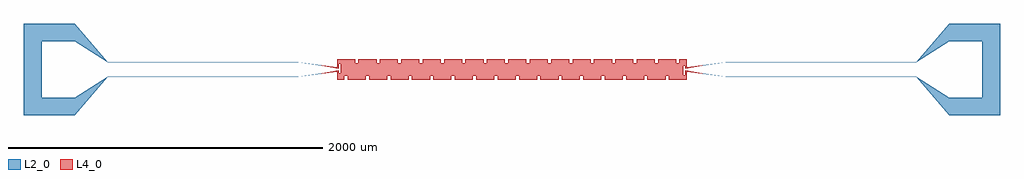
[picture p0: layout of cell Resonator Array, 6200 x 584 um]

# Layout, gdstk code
import gdstk
lib = gdstk.Library(unit=1e-6, precision=1e-09)
def P(c, l, *ps):  # polygons
    for p in ps: c.add(gdstk.Polygon(p, *l))
L2_0 = (2, 0)
L4_0 = (4, 0)

resonator_array = lib.new_cell('Resonator Array')
P(resonator_array, L2_0, [(2263,-9.844),(2263,-13.891),(2413,8.75),(3622.25,8.75),(3832.125,143.75),(4042,143.75),(4042,-216.25),(3832.125,-216.25),(3622.25,-81.25),(2413,-81.25),(2263,-58.609),(2263,-62.656),(2413,-82.75),(3622.25,-82.75),(3832.125,-328.25),(4154,-328.25),(4154,255.75),(3832.125,255.75),(3622.25,10.25),(2413,10.25)],
  [(-2046,255.75),(-2046,-328.25),(-1724.125,-328.25),(-1514.25,-82.75),(-305,-82.75),(-155,-62.656),(-155,-58.609),(-305,-81.25),(-1514.25,-81.25),(-1724.125,-216.25),(-1934,-216.25),(-1934,143.75),(-1724.125,143.75),(-1514.25,8.75),(-305,8.75),(-155,-13.891),(-155,-9.844),(-305,10.25),(-1514.25,10.25),(-1724.125,255.75)])
P(resonator_array, L4_0, [(780.5,29),(758.5,29),(758.5,5),(748.25,5),(748.25,-12.5),(761,-12.5),(761,-18),(735.5,-18),(735.5,-22.5),(761,-22.5),(761,-28),(735.5,-28),(735.5,-32.5),(761,-32.5),(761,-38),(735.5,-38),(735.5,-42.5),(761,-42.5),(761,-48),(735.5,-48),(735.5,-52.5),(748.25,-52.5),(748.25,-70.5),(771,-70.5),(771,-12.5),(773,-12.5),(773,-72.5),(723,-72.5),(723,-12.5),(725,-12.5),(725,-70.5),(747.75,-70.5),(747.75,-53),(735,-53),(735,-47.5),(760.5,-47.5),(760.5,-43),(735,-43),(735,-37.5),(760.5,-37.5),(760.5,-33),(735,-33),(735,-27.5),(760.5,-27.5),(760.5,-23),(735,-23),(735,-17.5),(760.5,-17.5),(760.5,-13),(747.75,-13),(747.75,5),(737.5,5),(737.5,29),(715.5,29),(715.5,-101.5),(780.5,-101.5)],
  [(916.5,29),(894.5,29),(894.5,5),(884.25,5),(884.25,-12.5),(897,-12.5),(897,-18),(871.5,-18),(871.5,-22.5),(897,-22.5),(897,-28),(871.5,-28),(871.5,-32.5),(897,-32.5),(897,-38),(871.5,-38),(871.5,-42.5),(897,-42.5),(897,-48),(871.5,-48),(871.5,-52.5),(884.25,-52.5),(884.25,-70.5),(907,-70.5),(907,-12.5),(909,-12.5),(909,-72.5),(859,-72.5),(859,-12.5),(861,-12.5),(861,-70.5),(883.75,-70.5),(883.75,-53),(871,-53),(871,-47.5),(896.5,-47.5),(896.5,-43),(871,-43),(871,-37.5),(896.5,-37.5),(896.5,-33),(871,-33),(871,-27.5),(896.5,-27.5),(896.5,-23),(871,-23),(871,-17.5),(896.5,-17.5),(896.5,-13),(883.75,-13),(883.75,5),(873.5,5),(873.5,29),(851.5,29),(851.5,-101.5),(916.5,-101.5)],
  [(1213.5,-77.5),(1223.75,-77.5),(1223.75,-59.5),(1236.5,-59.5),(1236.5,-55),(1211,-55),(1211,-49.5),(1236.5,-49.5),(1236.5,-45),(1211,-45),(1211,-39.5),(1236.5,-39.5),(1236.5,-35),(1211,-35),(1211,-29.5),(1236.5,-29.5),(1236.5,-25),(1211,-25),(1211,-19.5),(1223.75,-19.5),(1223.75,-2),(1201,-2),(1201,-60),(1199,-60),(1199,0),(1249,0),(1249,-60),(1247,-60),(1247,-2),(1224.25,-2),(1224.25,-20),(1211.5,-20),(1211.5,-24.5),(1237,-24.5),(1237,-30),(1211.5,-30),(1211.5,-34.5),(1237,-34.5),(1237,-40),(1211.5,-40),(1211.5,-44.5),(1237,-44.5),(1237,-50),(1211.5,-50),(1211.5,-54.5),(1237,-54.5),(1237,-60),(1224.25,-60),(1224.25,-77.5),(1234.5,-77.5),(1234.5,-101.5),(1256.5,-101.5),(1256.5,29),(1191.5,29),(1191.5,-101.5),(1213.5,-101.5)],
  [(1757.5,-77.5),(1767.75,-77.5),(1767.75,-59.5),(1780.5,-59.5),(1780.5,-55),(1755,-55),(1755,-49.5),(1780.5,-49.5),(1780.5,-45),(1755,-45),(1755,-39.5),(1780.5,-39.5),(1780.5,-35),(1755,-35),(1755,-29.5),(1780.5,-29.5),(1780.5,-25),(1755,-25),(1755,-19.5),(1767.75,-19.5),(1767.75,-2),(1745,-2),(1745,-60),(1743,-60),(1743,0),(1793,0),(1793,-60),(1791,-60),(1791,-2),(1768.25,-2),(1768.25,-20),(1755.5,-20),(1755.5,-24.5),(1781,-24.5),(1781,-30),(1755.5,-30),(1755.5,-34.5),(1781,-34.5),(1781,-40),(1755.5,-40),(1755.5,-44.5),(1781,-44.5),(1781,-50),(1755.5,-50),(1755.5,-54.5),(1781,-54.5),(1781,-60),(1768.25,-60),(1768.25,-77.5),(1778.5,-77.5),(1778.5,-101.5),(1800.5,-101.5),(1800.5,29),(1735.5,29),(1735.5,-101.5),(1757.5,-101.5)],
  [(1596.5,29),(1574.5,29),(1574.5,5),(1564.25,5),(1564.25,-12.5),(1577,-12.5),(1577,-18),(1551.5,-18),(1551.5,-22.5),(1577,-22.5),(1577,-28),(1551.5,-28),(1551.5,-32.5),(1577,-32.5),(1577,-38),(1551.5,-38),(1551.5,-42.5),(1577,-42.5),(1577,-48),(1551.5,-48),(1551.5,-52.5),(1564.25,-52.5),(1564.25,-70.5),(1587,-70.5),(1587,-12.5),(1589,-12.5),(1589,-72.5),(1539,-72.5),(1539,-12.5),(1541,-12.5),(1541,-70.5),(1563.75,-70.5),(1563.75,-53),(1551,-53),(1551,-47.5),(1576.5,-47.5),(1576.5,-43),(1551,-43),(1551,-37.5),(1576.5,-37.5),(1576.5,-33),(1551,-33),(1551,-27.5),(1576.5,-27.5),(1576.5,-23),(1551,-23),(1551,-17.5),(1576.5,-17.5),(1576.5,-13),(1563.75,-13),(1563.75,5),(1553.5,5),(1553.5,29),(1531.5,29),(1531.5,-101.5),(1596.5,-101.5)],
  [(1621.5,-77.5),(1631.75,-77.5),(1631.75,-59.5),(1644.5,-59.5),(1644.5,-55),(1619,-55),(1619,-49.5),(1644.5,-49.5),(1644.5,-45),(1619,-45),(1619,-39.5),(1644.5,-39.5),(1644.5,-35),(1619,-35),(1619,-29.5),(1644.5,-29.5),(1644.5,-25),(1619,-25),(1619,-19.5),(1631.75,-19.5),(1631.75,-2),(1609,-2),(1609,-60),(1607,-60),(1607,0),(1657,0),(1657,-60),(1655,-60),(1655,-2),(1632.25,-2),(1632.25,-20),(1619.5,-20),(1619.5,-24.5),(1645,-24.5),(1645,-30),(1619.5,-30),(1619.5,-34.5),(1645,-34.5),(1645,-40),(1619.5,-40),(1619.5,-44.5),(1645,-44.5),(1645,-50),(1619.5,-50),(1619.5,-54.5),(1645,-54.5),(1645,-60),(1632.25,-60),(1632.25,-77.5),(1642.5,-77.5),(1642.5,-101.5),(1664.5,-101.5),(1664.5,29),(1599.5,29),(1599.5,-101.5),(1621.5,-101.5)],
  [(508.5,29),(486.5,29),(486.5,5),(476.25,5),(476.25,-12.5),(489,-12.5),(489,-18),(463.5,-18),(463.5,-22.5),(489,-22.5),(489,-28),(463.5,-28),(463.5,-32.5),(489,-32.5),(489,-38),(463.5,-38),(463.5,-42.5),(489,-42.5),(489,-48),(463.5,-48),(463.5,-52.5),(476.25,-52.5),(476.25,-70.5),(499,-70.5),(499,-12.5),(501,-12.5),(501,-72.5),(451,-72.5),(451,-12.5),(453,-12.5),(453,-70.5),(475.75,-70.5),(475.75,-53),(463,-53),(463,-47.5),(488.5,-47.5),(488.5,-43),(463,-43),(463,-37.5),(488.5,-37.5),(488.5,-33),(463,-33),(463,-27.5),(488.5,-27.5),(488.5,-23),(463,-23),(463,-17.5),(488.5,-17.5),(488.5,-13),(475.75,-13),(475.75,5),(465.5,5),(465.5,29),(443.5,29),(443.5,-101.5),(508.5,-101.5)],
  [(1893.5,-77.5),(1903.75,-77.5),(1903.75,-59.5),(1916.5,-59.5),(1916.5,-55),(1891,-55),(1891,-49.5),(1916.5,-49.5),(1916.5,-45),(1891,-45),(1891,-39.5),(1916.5,-39.5),(1916.5,-35),(1891,-35),(1891,-29.5),(1916.5,-29.5),(1916.5,-25),(1891,-25),(1891,-19.5),(1903.75,-19.5),(1903.75,-2),(1881,-2),(1881,-60),(1879,-60),(1879,0),(1929,0),(1929,-60),(1927,-60),(1927,-2),(1904.25,-2),(1904.25,-20),(1891.5,-20),(1891.5,-24.5),(1917,-24.5),(1917,-30),(1891.5,-30),(1891.5,-34.5),(1917,-34.5),(1917,-40),(1891.5,-40),(1891.5,-44.5),(1917,-44.5),(1917,-50),(1891.5,-50),(1891.5,-54.5),(1917,-54.5),(1917,-60),(1904.25,-60),(1904.25,-77.5),(1914.5,-77.5),(1914.5,-101.5),(1936.5,-101.5),(1936.5,29),(1871.5,29),(1871.5,-101.5),(1893.5,-101.5)],
  [(1349.5,-77.5),(1359.75,-77.5),(1359.75,-59.5),(1372.5,-59.5),(1372.5,-55),(1347,-55),(1347,-49.5),(1372.5,-49.5),(1372.5,-45),(1347,-45),(1347,-39.5),(1372.5,-39.5),(1372.5,-35),(1347,-35),(1347,-29.5),(1372.5,-29.5),(1372.5,-25),(1347,-25),(1347,-19.5),(1359.75,-19.5),(1359.75,-2),(1337,-2),(1337,-60),(1335,-60),(1335,0),(1385,0),(1385,-60),(1383,-60),(1383,-2),(1360.25,-2),(1360.25,-20),(1347.5,-20),(1347.5,-24.5),(1373,-24.5),(1373,-30),(1347.5,-30),(1347.5,-34.5),(1373,-34.5),(1373,-40),(1347.5,-40),(1347.5,-44.5),(1373,-44.5),(1373,-50),(1347.5,-50),(1347.5,-54.5),(1373,-54.5),(1373,-60),(1360.25,-60),(1360.25,-77.5),(1370.5,-77.5),(1370.5,-101.5),(1392.5,-101.5),(1392.5,29),(1327.5,29),(1327.5,-101.5),(1349.5,-101.5)],
  [(1460.5,29),(1438.5,29),(1438.5,5),(1428.25,5),(1428.25,-12.5),(1441,-12.5),(1441,-18),(1415.5,-18),(1415.5,-22.5),(1441,-22.5),(1441,-28),(1415.5,-28),(1415.5,-32.5),(1441,-32.5),(1441,-38),(1415.5,-38),(1415.5,-42.5),(1441,-42.5),(1441,-48),(1415.5,-48),(1415.5,-52.5),(1428.25,-52.5),(1428.25,-70.5),(1451,-70.5),(1451,-12.5),(1453,-12.5),(1453,-72.5),(1403,-72.5),(1403,-12.5),(1405,-12.5),(1405,-70.5),(1427.75,-70.5),(1427.75,-53),(1415,-53),(1415,-47.5),(1440.5,-47.5),(1440.5,-43),(1415,-43),(1415,-37.5),(1440.5,-37.5),(1440.5,-33),(1415,-33),(1415,-27.5),(1440.5,-27.5),(1440.5,-23),(1415,-23),(1415,-17.5),(1440.5,-17.5),(1440.5,-13),(1427.75,-13),(1427.75,5),(1417.5,5),(1417.5,29),(1395.5,29),(1395.5,-101.5),(1460.5,-101.5)],
  [(1188.5,29),(1166.5,29),(1166.5,5),(1156.25,5),(1156.25,-12.5),(1169,-12.5),(1169,-18),(1143.5,-18),(1143.5,-22.5),(1169,-22.5),(1169,-28),(1143.5,-28),(1143.5,-32.5),(1169,-32.5),(1169,-38),(1143.5,-38),(1143.5,-42.5),(1169,-42.5),(1169,-48),(1143.5,-48),(1143.5,-52.5),(1156.25,-52.5),(1156.25,-70.5),(1179,-70.5),(1179,-12.5),(1181,-12.5),(1181,-72.5),(1131,-72.5),(1131,-12.5),(1133,-12.5),(1133,-70.5),(1155.75,-70.5),(1155.75,-53),(1143,-53),(1143,-47.5),(1168.5,-47.5),(1168.5,-43),(1143,-43),(1143,-37.5),(1168.5,-37.5),(1168.5,-33),(1143,-33),(1143,-27.5),(1168.5,-27.5),(1168.5,-23),(1143,-23),(1143,-17.5),(1168.5,-17.5),(1168.5,-13),(1155.75,-13),(1155.75,5),(1145.5,5),(1145.5,29),(1123.5,29),(1123.5,-101.5),(1188.5,-101.5)],
  [(533.5,-77.5),(543.75,-77.5),(543.75,-59.5),(556.5,-59.5),(556.5,-55),(531,-55),(531,-49.5),(556.5,-49.5),(556.5,-45),(531,-45),(531,-39.5),(556.5,-39.5),(556.5,-35),(531,-35),(531,-29.5),(556.5,-29.5),(556.5,-25),(531,-25),(531,-19.5),(543.75,-19.5),(543.75,-2),(521,-2),(521,-60),(519,-60),(519,0),(569,0),(569,-60),(567,-60),(567,-2),(544.25,-2),(544.25,-20),(531.5,-20),(531.5,-24.5),(557,-24.5),(557,-30),(531.5,-30),(531.5,-34.5),(557,-34.5),(557,-40),(531.5,-40),(531.5,-44.5),(557,-44.5),(557,-50),(531.5,-50),(531.5,-54.5),(557,-54.5),(557,-60),(544.25,-60),(544.25,-77.5),(554.5,-77.5),(554.5,-101.5),(576.5,-101.5),(576.5,29),(511.5,29),(511.5,-101.5),(533.5,-101.5)],
  [(-10.5,-77.5),(-0.25,-77.5),(-0.25,-59.5),(12.5,-59.5),(12.5,-55),(-13,-55),(-13,-49.5),(12.5,-49.5),(12.5,-45),(-13,-45),(-13,-39.5),(12.5,-39.5),(12.5,-35),(-13,-35),(-13,-29.5),(12.5,-29.5),(12.5,-25),(-13,-25),(-13,-19.5),(-0.25,-19.5),(-0.25,-2),(-23,-2),(-23,-60),(-25,-60),(-25,0),(25,0),(25,-60),(23,-60),(23,-2),(0.25,-2),(0.25,-20),(-12.5,-20),(-12.5,-24.5),(13,-24.5),(13,-30),(-12.5,-30),(-12.5,-34.5),(13,-34.5),(13,-40),(-12.5,-40),(-12.5,-44.5),(13,-44.5),(13,-50),(-12.5,-50),(-12.5,-54.5),(13,-54.5),(13,-60),(0.25,-60),(0.25,-77.5),(10.5,-77.5),(10.5,-101.5),(32.5,-101.5),(32.5,29),(-55,29),(-55,-23.24),(-156,-9.71),(-156,-13.74),(-45,-30.495),(-45,0),(-35,0),(-35,-60),(-45,-60),(-45,-42.005),(-156,-58.76),(-156,-62.79),(-55,-49.26),(-55,-101.5),(-10.5,-101.5)],
  [(1052.5,29),(1030.5,29),(1030.5,5),(1020.25,5),(1020.25,-12.5),(1033,-12.5),(1033,-18),(1007.5,-18),(1007.5,-22.5),(1033,-22.5),(1033,-28),(1007.5,-28),(1007.5,-32.5),(1033,-32.5),(1033,-38),(1007.5,-38),(1007.5,-42.5),(1033,-42.5),(1033,-48),(1007.5,-48),(1007.5,-52.5),(1020.25,-52.5),(1020.25,-70.5),(1043,-70.5),(1043,-12.5),(1045,-12.5),(1045,-72.5),(995,-72.5),(995,-12.5),(997,-12.5),(997,-70.5),(1019.75,-70.5),(1019.75,-53),(1007,-53),(1007,-47.5),(1032.5,-47.5),(1032.5,-43),(1007,-43),(1007,-37.5),(1032.5,-37.5),(1032.5,-33),(1007,-33),(1007,-27.5),(1032.5,-27.5),(1032.5,-23),(1007,-23),(1007,-17.5),(1032.5,-17.5),(1032.5,-13),(1019.75,-13),(1019.75,5),(1009.5,5),(1009.5,29),(987.5,29),(987.5,-101.5),(1052.5,-101.5)],
  [(2029.5,-77.5),(2039.75,-77.5),(2039.75,-59.5),(2052.5,-59.5),(2052.5,-55),(2027,-55),(2027,-49.5),(2052.5,-49.5),(2052.5,-45),(2027,-45),(2027,-39.5),(2052.5,-39.5),(2052.5,-35),(2027,-35),(2027,-29.5),(2052.5,-29.5),(2052.5,-25),(2027,-25),(2027,-19.5),(2039.75,-19.5),(2039.75,-2),(2017,-2),(2017,-60),(2015,-60),(2015,0),(2065,0),(2065,-60),(2063,-60),(2063,-2),(2040.25,-2),(2040.25,-20),(2027.5,-20),(2027.5,-24.5),(2053,-24.5),(2053,-30),(2027.5,-30),(2027.5,-34.5),(2053,-34.5),(2053,-40),(2027.5,-40),(2027.5,-44.5),(2053,-44.5),(2053,-50),(2027.5,-50),(2027.5,-54.5),(2053,-54.5),(2053,-60),(2040.25,-60),(2040.25,-77.5),(2050,-77.5),(2050,-101.5),(2072.5,-101.5),(2072.5,29),(2007.5,29),(2007.5,-101.5),(2029.5,-101.5)],
  [(1324.5,29),(1302.5,29),(1302.5,5),(1292.25,5),(1292.25,-12.5),(1305,-12.5),(1305,-18),(1279.5,-18),(1279.5,-22.5),(1305,-22.5),(1305,-28),(1279.5,-28),(1279.5,-32.5),(1305,-32.5),(1305,-38),(1279.5,-38),(1279.5,-42.5),(1305,-42.5),(1305,-48),(1279.5,-48),(1279.5,-52.5),(1292.25,-52.5),(1292.25,-70.5),(1315,-70.5),(1315,-12.5),(1317,-12.5),(1317,-72.5),(1267,-72.5),(1267,-12.5),(1269,-12.5),(1269,-70.5),(1291.75,-70.5),(1291.75,-53),(1279,-53),(1279,-47.5),(1304.5,-47.5),(1304.5,-43),(1279,-43),(1279,-37.5),(1304.5,-37.5),(1304.5,-33),(1279,-33),(1279,-27.5),(1304.5,-27.5),(1304.5,-23),(1279,-23),(1279,-17.5),(1304.5,-17.5),(1304.5,-13),(1291.75,-13),(1291.75,5),(1281.5,5),(1281.5,29),(1259.5,29),(1259.5,-101.5),(1324.5,-101.5)],
  [(397.5,-77.5),(407.75,-77.5),(407.75,-59.5),(420.5,-59.5),(420.5,-55),(395,-55),(395,-49.5),(420.5,-49.5),(420.5,-45),(395,-45),(395,-39.5),(420.5,-39.5),(420.5,-35),(395,-35),(395,-29.5),(420.5,-29.5),(420.5,-25),(395,-25),(395,-19.5),(407.75,-19.5),(407.75,-2),(385,-2),(385,-60),(383,-60),(383,0),(433,0),(433,-60),(431,-60),(431,-2),(408.25,-2),(408.25,-20),(395.5,-20),(395.5,-24.5),(421,-24.5),(421,-30),(395.5,-30),(395.5,-34.5),(421,-34.5),(421,-40),(395.5,-40),(395.5,-44.5),(421,-44.5),(421,-50),(395.5,-50),(395.5,-54.5),(421,-54.5),(421,-60),(408.25,-60),(408.25,-77.5),(418.5,-77.5),(418.5,-101.5),(440.5,-101.5),(440.5,29),(375.5,29),(375.5,-101.5),(397.5,-101.5)],
  [(2163,-49.26),(2264,-62.79),(2264,-58.76),(2153,-42.005),(2153,-72.5),(2143,-72.5),(2143,-12.5),(2153,-12.5),(2153,-30.495),(2264,-13.74),(2264,-9.71),(2163,-23.24),(2163,29),(2118,29),(2118,5),(2108.25,5),(2108.25,-12.5),(2121,-12.5),(2121,-18),(2095.5,-18),(2095.5,-22.5),(2121,-22.5),(2121,-28),(2095.5,-28),(2095.5,-32.5),(2121,-32.5),(2121,-38),(2095.5,-38),(2095.5,-42.5),(2121,-42.5),(2121,-48),(2095.5,-48),(2095.5,-52.5),(2108.25,-52.5),(2108.25,-70.5),(2131,-70.5),(2131,-12.5),(2133,-12.5),(2133,-72.5),(2083,-72.5),(2083,-12.5),(2085,-12.5),(2085,-70.5),(2107.75,-70.5),(2107.75,-53),(2095,-53),(2095,-47.5),(2120.5,-47.5),(2120.5,-43),(2095,-43),(2095,-37.5),(2120.5,-37.5),(2120.5,-33),(2095,-33),(2095,-27.5),(2120.5,-27.5),(2120.5,-23),(2095,-23),(2095,-17.5),(2120.5,-17.5),(2120.5,-13),(2107.75,-13),(2107.75,5),(2097.5,5),(2097.5,29),(2075.5,29),(2075.5,-101.5),(2163,-101.5)],
  [(1077.5,-77.5),(1087.75,-77.5),(1087.75,-59.5),(1100.5,-59.5),(1100.5,-55),(1075,-55),(1075,-49.5),(1100.5,-49.5),(1100.5,-45),(1075,-45),(1075,-39.5),(1100.5,-39.5),(1100.5,-35),(1075,-35),(1075,-29.5),(1100.5,-29.5),(1100.5,-25),(1075,-25),(1075,-19.5),(1087.75,-19.5),(1087.75,-2),(1065,-2),(1065,-60),(1063,-60),(1063,0),(1113,0),(1113,-60),(1111,-60),(1111,-2),(1088.25,-2),(1088.25,-20),(1075.5,-20),(1075.5,-24.5),(1101,-24.5),(1101,-30),(1075.5,-30),(1075.5,-34.5),(1101,-34.5),(1101,-40),(1075.5,-40),(1075.5,-44.5),(1101,-44.5),(1101,-50),(1075.5,-50),(1075.5,-54.5),(1101,-54.5),(1101,-60),(1088.25,-60),(1088.25,-77.5),(1098.5,-77.5),(1098.5,-101.5),(1120.5,-101.5),(1120.5,29),(1055.5,29),(1055.5,-101.5),(1077.5,-101.5)],
  [(372.5,29),(350.5,29),(350.5,5),(340.25,5),(340.25,-12.5),(353,-12.5),(353,-18),(327.5,-18),(327.5,-22.5),(353,-22.5),(353,-28),(327.5,-28),(327.5,-32.5),(353,-32.5),(353,-38),(327.5,-38),(327.5,-42.5),(353,-42.5),(353,-48),(327.5,-48),(327.5,-52.5),(340.25,-52.5),(340.25,-70.5),(363,-70.5),(363,-12.5),(365,-12.5),(365,-72.5),(315,-72.5),(315,-12.5),(317,-12.5),(317,-70.5),(339.75,-70.5),(339.75,-53),(327,-53),(327,-47.5),(352.5,-47.5),(352.5,-43),(327,-43),(327,-37.5),(352.5,-37.5),(352.5,-33),(327,-33),(327,-27.5),(352.5,-27.5),(352.5,-23),(327,-23),(327,-17.5),(352.5,-17.5),(352.5,-13),(339.75,-13),(339.75,5),(329.5,5),(329.5,29),(307.5,29),(307.5,-101.5),(372.5,-101.5)],
  [(2004.5,29),(1982.5,29),(1982.5,5),(1972.25,5),(1972.25,-12.5),(1985,-12.5),(1985,-18),(1959.5,-18),(1959.5,-22.5),(1985,-22.5),(1985,-28),(1959.5,-28),(1959.5,-32.5),(1985,-32.5),(1985,-38),(1959.5,-38),(1959.5,-42.5),(1985,-42.5),(1985,-48),(1959.5,-48),(1959.5,-52.5),(1972.25,-52.5),(1972.25,-70.5),(1995,-70.5),(1995,-12.5),(1997,-12.5),(1997,-72.5),(1947,-72.5),(1947,-12.5),(1949,-12.5),(1949,-70.5),(1971.75,-70.5),(1971.75,-53),(1959,-53),(1959,-47.5),(1984.5,-47.5),(1984.5,-43),(1959,-43),(1959,-37.5),(1984.5,-37.5),(1984.5,-33),(1959,-33),(1959,-27.5),(1984.5,-27.5),(1984.5,-23),(1959,-23),(1959,-17.5),(1984.5,-17.5),(1984.5,-13),(1971.75,-13),(1971.75,5),(1961.5,5),(1961.5,29),(1939.5,29),(1939.5,-101.5),(2004.5,-101.5)],
  [(261.5,-77.5),(271.75,-77.5),(271.75,-59.5),(284.5,-59.5),(284.5,-55),(259,-55),(259,-49.5),(284.5,-49.5),(284.5,-45),(259,-45),(259,-39.5),(284.5,-39.5),(284.5,-35),(259,-35),(259,-29.5),(284.5,-29.5),(284.5,-25),(259,-25),(259,-19.5),(271.75,-19.5),(271.75,-2),(249,-2),(249,-60),(247,-60),(247,0),(297,0),(297,-60),(295,-60),(295,-2),(272.25,-2),(272.25,-20),(259.5,-20),(259.5,-24.5),(285,-24.5),(285,-30),(259.5,-30),(259.5,-34.5),(285,-34.5),(285,-40),(259.5,-40),(259.5,-44.5),(285,-44.5),(285,-50),(259.5,-50),(259.5,-54.5),(285,-54.5),(285,-60),(272.25,-60),(272.25,-77.5),(282.5,-77.5),(282.5,-101.5),(304.5,-101.5),(304.5,29),(239.5,29),(239.5,-101.5),(261.5,-101.5)],
  [(644.5,29),(622.5,29),(622.5,5),(612.25,5),(612.25,-12.5),(625,-12.5),(625,-18),(599.5,-18),(599.5,-22.5),(625,-22.5),(625,-28),(599.5,-28),(599.5,-32.5),(625,-32.5),(625,-38),(599.5,-38),(599.5,-42.5),(625,-42.5),(625,-48),(599.5,-48),(599.5,-52.5),(612.25,-52.5),(612.25,-70.5),(635,-70.5),(635,-12.5),(637,-12.5),(637,-72.5),(587,-72.5),(587,-12.5),(589,-12.5),(589,-70.5),(611.75,-70.5),(611.75,-53),(599,-53),(599,-47.5),(624.5,-47.5),(624.5,-43),(599,-43),(599,-37.5),(624.5,-37.5),(624.5,-33),(599,-33),(599,-27.5),(624.5,-27.5),(624.5,-23),(599,-23),(599,-17.5),(624.5,-17.5),(624.5,-13),(611.75,-13),(611.75,5),(601.5,5),(601.5,29),(579.5,29),(579.5,-101.5),(644.5,-101.5)],
  [(125.5,-77.5),(135.75,-77.5),(135.75,-59.5),(148.5,-59.5),(148.5,-55),(123,-55),(123,-49.5),(148.5,-49.5),(148.5,-45),(123,-45),(123,-39.5),(148.5,-39.5),(148.5,-35),(123,-35),(123,-29.5),(148.5,-29.5),(148.5,-25),(123,-25),(123,-19.5),(135.75,-19.5),(135.75,-2),(113,-2),(113,-60),(111,-60),(111,0),(161,0),(161,-60),(159,-60),(159,-2),(136.25,-2),(136.25,-20),(123.5,-20),(123.5,-24.5),(149,-24.5),(149,-30),(123.5,-30),(123.5,-34.5),(149,-34.5),(149,-40),(123.5,-40),(123.5,-44.5),(149,-44.5),(149,-50),(123.5,-50),(123.5,-54.5),(149,-54.5),(149,-60),(136.25,-60),(136.25,-77.5),(146.5,-77.5),(146.5,-101.5),(168.5,-101.5),(168.5,29),(103.5,29),(103.5,-101.5),(125.5,-101.5)],
  [(1868.5,29),(1846.5,29),(1846.5,5),(1836.25,5),(1836.25,-12.5),(1849,-12.5),(1849,-18),(1823.5,-18),(1823.5,-22.5),(1849,-22.5),(1849,-28),(1823.5,-28),(1823.5,-32.5),(1849,-32.5),(1849,-38),(1823.5,-38),(1823.5,-42.5),(1849,-42.5),(1849,-48),(1823.5,-48),(1823.5,-52.5),(1836.25,-52.5),(1836.25,-70.5),(1859,-70.5),(1859,-12.5),(1861,-12.5),(1861,-72.5),(1811,-72.5),(1811,-12.5),(1813,-12.5),(1813,-70.5),(1835.75,-70.5),(1835.75,-53),(1823,-53),(1823,-47.5),(1848.5,-47.5),(1848.5,-43),(1823,-43),(1823,-37.5),(1848.5,-37.5),(1848.5,-33),(1823,-33),(1823,-27.5),(1848.5,-27.5),(1848.5,-23),(1823,-23),(1823,-17.5),(1848.5,-17.5),(1848.5,-13),(1835.75,-13),(1835.75,5),(1825.5,5),(1825.5,29),(1803.5,29),(1803.5,-101.5),(1868.5,-101.5)],
  [(236.5,29),(214.5,29),(214.5,5),(204.25,5),(204.25,-12.5),(217,-12.5),(217,-18),(191.5,-18),(191.5,-22.5),(217,-22.5),(217,-28),(191.5,-28),(191.5,-32.5),(217,-32.5),(217,-38),(191.5,-38),(191.5,-42.5),(217,-42.5),(217,-48),(191.5,-48),(191.5,-52.5),(204.25,-52.5),(204.25,-70.5),(227,-70.5),(227,-12.5),(229,-12.5),(229,-72.5),(179,-72.5),(179,-12.5),(181,-12.5),(181,-70.5),(203.75,-70.5),(203.75,-53),(191,-53),(191,-47.5),(216.5,-47.5),(216.5,-43),(191,-43),(191,-37.5),(216.5,-37.5),(216.5,-33),(191,-33),(191,-27.5),(216.5,-27.5),(216.5,-23),(191,-23),(191,-17.5),(216.5,-17.5),(216.5,-13),(203.75,-13),(203.75,5),(193.5,5),(193.5,29),(171.5,29),(171.5,-101.5),(236.5,-101.5)],
  [(805.5,-77.5),(815.75,-77.5),(815.75,-59.5),(828.5,-59.5),(828.5,-55),(803,-55),(803,-49.5),(828.5,-49.5),(828.5,-45),(803,-45),(803,-39.5),(828.5,-39.5),(828.5,-35),(803,-35),(803,-29.5),(828.5,-29.5),(828.5,-25),(803,-25),(803,-19.5),(815.75,-19.5),(815.75,-2),(793,-2),(793,-60),(791,-60),(791,0),(841,0),(841,-60),(839,-60),(839,-2),(816.25,-2),(816.25,-20),(803.5,-20),(803.5,-24.5),(829,-24.5),(829,-30),(803.5,-30),(803.5,-34.5),(829,-34.5),(829,-40),(803.5,-40),(803.5,-44.5),(829,-44.5),(829,-50),(803.5,-50),(803.5,-54.5),(829,-54.5),(829,-60),(816.25,-60),(816.25,-77.5),(826.5,-77.5),(826.5,-101.5),(848.5,-101.5),(848.5,29),(783.5,29),(783.5,-101.5),(805.5,-101.5)],
  [(100.5,29),(78.5,29),(78.5,5),(68.25,5),(68.25,-12.5),(81,-12.5),(81,-18),(55.5,-18),(55.5,-22.5),(81,-22.5),(81,-28),(55.5,-28),(55.5,-32.5),(81,-32.5),(81,-38),(55.5,-38),(55.5,-42.5),(81,-42.5),(81,-48),(55.5,-48),(55.5,-52.5),(68.25,-52.5),(68.25,-70.5),(91,-70.5),(91,-12.5),(93,-12.5),(93,-72.5),(43,-72.5),(43,-12.5),(45,-12.5),(45,-70.5),(67.75,-70.5),(67.75,-53),(55,-53),(55,-47.5),(80.5,-47.5),(80.5,-43),(55,-43),(55,-37.5),(80.5,-37.5),(80.5,-33),(55,-33),(55,-27.5),(80.5,-27.5),(80.5,-23),(55,-23),(55,-17.5),(80.5,-17.5),(80.5,-13),(67.75,-13),(67.75,5),(57.5,5),(57.5,29),(35.5,29),(35.5,-101.5),(100.5,-101.5)],
  [(941.5,-77.5),(951.75,-77.5),(951.75,-59.5),(964.5,-59.5),(964.5,-55),(939,-55),(939,-49.5),(964.5,-49.5),(964.5,-45),(939,-45),(939,-39.5),(964.5,-39.5),(964.5,-35),(939,-35),(939,-29.5),(964.5,-29.5),(964.5,-25),(939,-25),(939,-19.5),(951.75,-19.5),(951.75,-2),(929,-2),(929,-60),(927,-60),(927,0),(977,0),(977,-60),(975,-60),(975,-2),(952.25,-2),(952.25,-20),(939.5,-20),(939.5,-24.5),(965,-24.5),(965,-30),(939.5,-30),(939.5,-34.5),(965,-34.5),(965,-40),(939.5,-40),(939.5,-44.5),(965,-44.5),(965,-50),(939.5,-50),(939.5,-54.5),(965,-54.5),(965,-60),(952.25,-60),(952.25,-77.5),(962.5,-77.5),(962.5,-101.5),(984.5,-101.5),(984.5,29),(919.5,29),(919.5,-101.5),(941.5,-101.5)],
  [(1485.5,-77.5),(1495.75,-77.5),(1495.75,-59.5),(1508.5,-59.5),(1508.5,-55),(1483,-55),(1483,-49.5),(1508.5,-49.5),(1508.5,-45),(1483,-45),(1483,-39.5),(1508.5,-39.5),(1508.5,-35),(1483,-35),(1483,-29.5),(1508.5,-29.5),(1508.5,-25),(1483,-25),(1483,-19.5),(1495.75,-19.5),(1495.75,-2),(1473,-2),(1473,-60),(1471,-60),(1471,0),(1521,0),(1521,-60),(1519,-60),(1519,-2),(1496.25,-2),(1496.25,-20),(1483.5,-20),(1483.5,-24.5),(1509,-24.5),(1509,-30),(1483.5,-30),(1483.5,-34.5),(1509,-34.5),(1509,-40),(1483.5,-40),(1483.5,-44.5),(1509,-44.5),(1509,-50),(1483.5,-50),(1483.5,-54.5),(1509,-54.5),(1509,-60),(1496.25,-60),(1496.25,-77.5),(1506.5,-77.5),(1506.5,-101.5),(1528.5,-101.5),(1528.5,29),(1463.5,29),(1463.5,-101.5),(1485.5,-101.5)],
  [(1732.5,29),(1710.5,29),(1710.5,5),(1700.25,5),(1700.25,-12.5),(1713,-12.5),(1713,-18),(1687.5,-18),(1687.5,-22.5),(1713,-22.5),(1713,-28),(1687.5,-28),(1687.5,-32.5),(1713,-32.5),(1713,-38),(1687.5,-38),(1687.5,-42.5),(1713,-42.5),(1713,-48),(1687.5,-48),(1687.5,-52.5),(1700.25,-52.5),(1700.25,-70.5),(1723,-70.5),(1723,-12.5),(1725,-12.5),(1725,-72.5),(1675,-72.5),(1675,-12.5),(1677,-12.5),(1677,-70.5),(1699.75,-70.5),(1699.75,-53),(1687,-53),(1687,-47.5),(1712.5,-47.5),(1712.5,-43),(1687,-43),(1687,-37.5),(1712.5,-37.5),(1712.5,-33),(1687,-33),(1687,-27.5),(1712.5,-27.5),(1712.5,-23),(1687,-23),(1687,-17.5),(1712.5,-17.5),(1712.5,-13),(1699.75,-13),(1699.75,5),(1689.5,5),(1689.5,29),(1667.5,29),(1667.5,-101.5),(1732.5,-101.5)],
  [(669.5,-77.5),(679.75,-77.5),(679.75,-59.5),(692.5,-59.5),(692.5,-55),(667,-55),(667,-49.5),(692.5,-49.5),(692.5,-45),(667,-45),(667,-39.5),(692.5,-39.5),(692.5,-35),(667,-35),(667,-29.5),(692.5,-29.5),(692.5,-25),(667,-25),(667,-19.5),(679.75,-19.5),(679.75,-2),(657,-2),(657,-60),(655,-60),(655,0),(705,0),(705,-60),(703,-60),(703,-2),(680.25,-2),(680.25,-20),(667.5,-20),(667.5,-24.5),(693,-24.5),(693,-30),(667.5,-30),(667.5,-34.5),(693,-34.5),(693,-40),(667.5,-40),(667.5,-44.5),(693,-44.5),(693,-50),(667.5,-50),(667.5,-54.5),(693,-54.5),(693,-60),(680.25,-60),(680.25,-77.5),(690.5,-77.5),(690.5,-101.5),(712.5,-101.5),(712.5,29),(647.5,29),(647.5,-101.5),(669.5,-101.5)])

lib.write_gds('Resonator_Array.gds')
